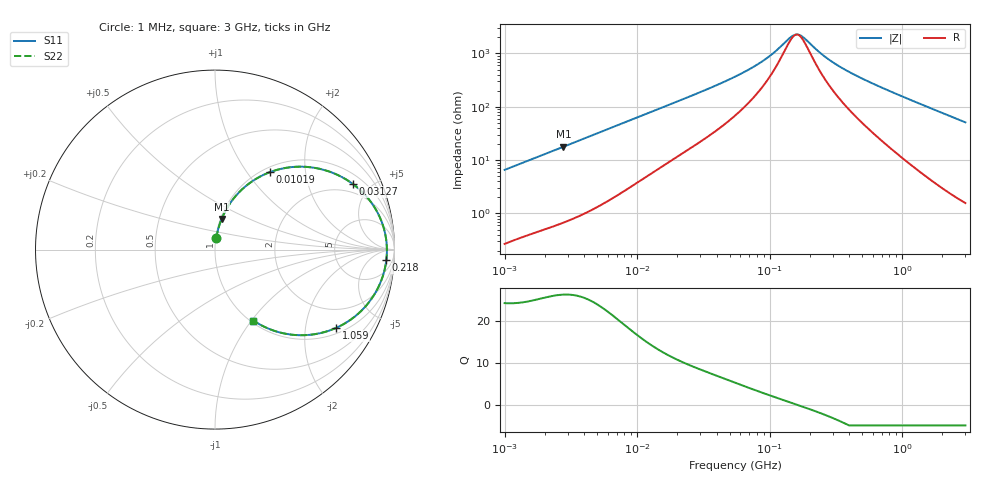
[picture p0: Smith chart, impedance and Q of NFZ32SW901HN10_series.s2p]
! NFZ32SW901HN10
# Hz S RI R 50
!Freq.(Hz) S11(Real) S11(Imag) S21(Real) S21(Imag) S12(Real) S12(Imag) S22(Real) S22(Imag)
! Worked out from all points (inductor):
!   401 points, 1 MHz to 3 GHz, reference 50 ohm
!   read as one part in series: L = 1.04 uH near 1.041 MHz
!   highest Q = 26.5 at 2.775 MHz (marker M1), where L = 1.02 uH
!   self-resonance near 160.3 MHz
!   S11 on the Smith chart (normalised r, x): 1 MHz: 1.01, +0.13; 10.19 MHz: 1.08, +1.29; 31.27 MHz: 1.47, +3.91; 218 MHz: 15, -21; 1.059 GHz: 1.20, -2.94; 3 GHz: 1.03, -1.02
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1000000  0.00693 0.065  0.9931 -0.065  0.9931 -0.065  0.00693 0.065
2775447  0.0367 0.1701  0.9633 -0.1701  0.9633 -0.1701  0.0367 0.1701
3823119  0.064 0.2262  0.936 -0.2262  0.936 -0.2262  0.064 0.2262
6305767  0.1494 0.3343  0.8506 -0.3343  0.8506 -0.3343  0.1494 0.3343
1.019448e7  0.3039 0.4307  0.6961 -0.4307  0.6961 -0.4307  0.3039 0.4307
1.461624e7  0.4605 0.4619  0.5395 -0.4619  0.5395 -0.4619  0.4605 0.4619
2.054061e7  0.6127 0.4425  0.3873 -0.4425  0.3873 -0.4425  0.6127 0.4425
3.127247e7  0.7685 0.3654  0.2315 -0.3654  0.2315 -0.3654  0.7685 0.3654
5.477226e7  0.8935 0.228  0.1065 -0.228  0.1065 -0.228  0.8935 0.228
7.248696e7  0.9261 0.162  0.0739 -0.162  0.0739 -0.162  0.9261 0.162
9.216659e7  0.9433 0.1096  0.0567 -0.1096  0.0567 -0.1096  0.9433 0.1096
1.520175e8  0.9576 0.0102  0.0424 -0.0102  0.0424 -0.0102  0.9576 0.0102
1.714156e8  0.9577 -0.0129  0.0423 0.0129  0.0423 0.0129  0.9577 -0.0129
2.094008e8  0.9553 -0.0518  0.0447 0.0518  0.0447 0.0518  0.9553 -0.0518
2.179536e8  0.9544 -0.0598  0.0456 0.0598  0.0456 0.0598  0.9544 -0.0598
2.771263e8  0.9457 -0.1092  0.0543 0.1092  0.0543 0.1092  0.9457 -0.1092
3.667557e8  0.9264 -0.1721  0.0736 0.1721  0.0736 0.1721  0.9264 -0.1721
5.583748e8  0.8687 -0.2787  0.1313 0.2787  0.1313 0.2787  0.8687 -0.2787
8.005644e8  0.7777 -0.3741  0.2223 0.3741  0.2223 0.3741  0.7777 -0.3741
1.059487e9  0.6742 -0.4365  0.3258 0.4365  0.3258 0.4365  0.6742 -0.4365
1.712864e9  0.4498 -0.4761  0.5502 0.4761  0.5502 0.4761  0.4498 -0.4761
3e9  0.2143 -0.3953  0.7857 0.3953  0.7857 0.3953  0.2143 -0.3953
